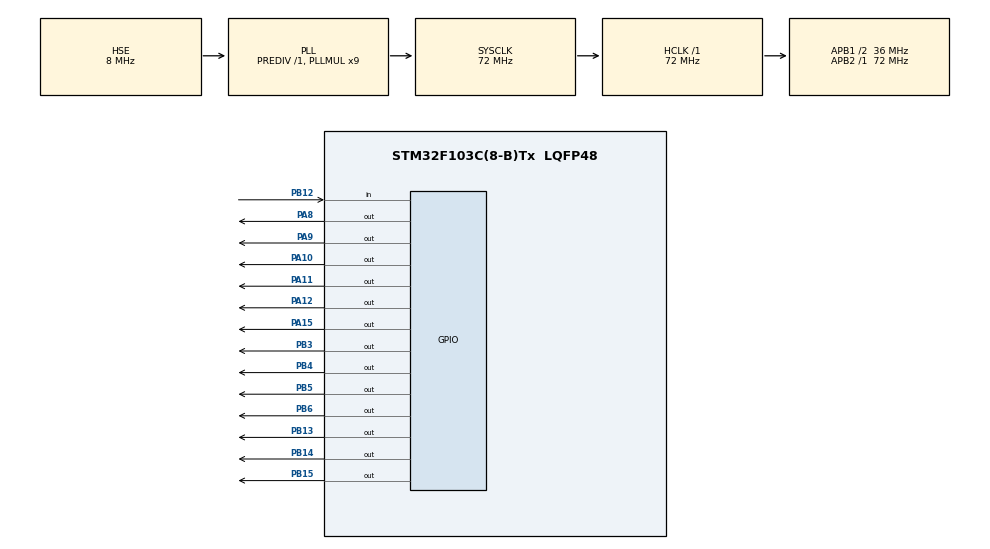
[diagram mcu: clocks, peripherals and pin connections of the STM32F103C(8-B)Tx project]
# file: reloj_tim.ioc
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Mcu.Family=STM32F1
Mcu.Name=STM32F103C(8-B)Tx
Mcu.Package=LQFP48
NVIC.PriorityGroup=NVIC_PRIORITYGROUP_4
PA10.Signal=GPIO_Output
PA11.Signal=GPIO_Output
PA12.Signal=GPIO_Output
PA13.Mode=Serial_Wire
PA13.Signal=SYS_JTMS-SWDIO
PA14.Mode=Serial_Wire
PA14.Signal=SYS_JTCK-SWCLK
PA15.Signal=GPIO_Output
PA8.Signal=GPIO_Output
PA9.Signal=GPIO_Output
PB12.Signal=GPIO_Input
PB13.Signal=GPIO_Output
PB14.Signal=GPIO_Output
PB15.Signal=GPIO_Output
PB3.Signal=GPIO_Output
PB4.Signal=GPIO_Output
PB5.Signal=GPIO_Output
PB6.Signal=GPIO_Output
PD0-OSC_IN.Mode=HSE-External-Oscillator
PD0-OSC_IN.Signal=RCC_OSC_IN
PD1-OSC_OUT.Mode=HSE-External-Oscillator
PD1-OSC_OUT.Signal=RCC_OSC_OUT
ProjectManager.HeapSize=0x200
ProjectManager.StackSize=0x400
ProjectManager.TargetToolchain=STM32CubeIDE
RCC.AHBFreq_Value=72000000
RCC.APB1CLKDivider=RCC_HCLK_DIV2
RCC.APB1Freq_Value=36000000
RCC.APB1TimFreq_Value=72000000
RCC.APB2Freq_Value=72000000
RCC.APB2TimFreq_Value=72000000
RCC.HCLKFreq_Value=72000000
RCC.PLLMUL=RCC_PLL_MUL9
RCC.PLLSourceVirtual=RCC_PLLSOURCE_HSE
RCC.SYSCLKFreq_VALUE=72000000
RCC.SYSCLKSource=RCC_SYSCLKSOURCE_PLLCLK
RCC.USBFreq_Value=72000000
TIM2.Period=1
TIM2.Prescaler=35999
VP_TIM2_VS_ClockSourceINT.Mode=Internal
board=custom

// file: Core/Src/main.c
/* USER CODE BEGIN Header */
/**
  ******************************************************************************
  * @file           : main.c
  * @brief          : Main program body
  ******************************************************************************
  * @attention
  *
  * <h2><center>&copy; Copyright (c) 2020 STMicroelectronics.
  * All rights reserved.</center></h2>
  *
  * This software component is licensed by ST under BSD 3-Clause license,
  * the "License"; You may not use this file except in compliance with the
  * License. You may obtain a copy of the License at:
  *                        opensource.org/licenses/BSD-3-Clause
  *
  ******************************************************************************
  */
/* USER CODE END Header */

#include "main.h"

/* USER CODE BEGIN PD */
enum{
	mils = 0,
	seg,
	min,
	hour
};
volatile uint32_t time[hour+1] ={0,0,10,7};

/* USER CODE END PD */

TIM_HandleTypeDef htim2;

void SystemClock_Config(void);
static void MX_GPIO_Init(void);
static void MX_TIM2_Init(void);

/* USER CODE BEGIN 0 */
void encender(int tiempo);
void apagar(int tiempo);
int inicial();
int  run();
int set();
/* USER CODE END 0 */

int main(void)
{

  /* MCU Configuration--------------------------------------------------------*/

  /* Reset of all peripherals, Initializes the Flash interface and the Systick. */
  HAL_Init();

  /* Configure the system clock */
  SystemClock_Config();

  /* Initialize all configured peripherals */
  MX_GPIO_Init();
  MX_TIM2_Init();

  /* Infinite loop */
  while (1)
  {

  }
}

void SystemClock_Config(void)
{
  RCC_OscInitTypeDef RCC_OscInitStruct = {0};
  RCC_ClkInitTypeDef RCC_ClkInitStruct = {0};

  /** Initializes the CPU, AHB and APB busses clocks
  */
  RCC_OscInitStruct.OscillatorType = RCC_OSCILLATORTYPE_HSE;
  RCC_OscInitStruct.HSEState = RCC_HSE_ON;
  RCC_OscInitStruct.HSEPredivValue = RCC_HSE_PREDIV_DIV1;
  RCC_OscInitStruct.HSIState = RCC_HSI_ON;
  RCC_OscInitStruct.PLL.PLLState = RCC_PLL_ON;
  RCC_OscInitStruct.PLL.PLLSource = RCC_PLLSOURCE_HSE;
  RCC_OscInitStruct.PLL.PLLMUL = RCC_PLL_MUL9;
  if (HAL_RCC_OscConfig(&RCC_OscInitStruct) != HAL_OK)
  {
    Error_Handler();
  }
  /** Initializes the CPU, AHB and APB busses clocks
  */
  RCC_ClkInitStruct.ClockType = RCC_CLOCKTYPE_HCLK|RCC_CLOCKTYPE_SYSCLK
                              |RCC_CLOCKTYPE_PCLK1|RCC_CLOCKTYPE_PCLK2;
  RCC_ClkInitStruct.SYSCLKSource = RCC_SYSCLKSOURCE_PLLCLK;
  RCC_ClkInitStruct.AHBCLKDivider = RCC_SYSCLK_DIV1;
  RCC_ClkInitStruct.APB1CLKDivider = RCC_HCLK_DIV2;
  RCC_ClkInitStruct.APB2CLKDivider = RCC_HCLK_DIV1;

  if (HAL_RCC_ClockConfig(&RCC_ClkInitStruct, FLASH_LATENCY_2) != HAL_OK)
  {
    Error_Handler();
  }
}

static void MX_TIM2_Init(void)
{

  TIM_ClockConfigTypeDef sClockSourceConfig = {0};
  TIM_MasterConfigTypeDef sMasterConfig = {0};

  htim2.Instance = TIM2;
  htim2.Init.Prescaler = 35999;
  htim2.Init.CounterMode = TIM_COUNTERMODE_UP;
  htim2.Init.Period = 1;
  htim2.Init.ClockDivision = TIM_CLOCKDIVISION_DIV1;
  htim2.Init.AutoReloadPreload = TIM_AUTORELOAD_PRELOAD_DISABLE;
  if (HAL_TIM_Base_Init(&htim2) != HAL_OK)
  {
    Error_Handler();
  }
  sClockSourceConfig.ClockSource = TIM_CLOCKSOURCE_INTERNAL;
  if (HAL_TIM_ConfigClockSource(&htim2, &sClockSourceConfig) != HAL_OK)
  {
    Error_Handler();
  }
  sMasterConfig.MasterOutputTrigger = TIM_TRGO_RESET;
  sMasterConfig.MasterSlaveMode = TIM_MASTERSLAVEMODE_DISABLE;
  if (HAL_TIMEx_MasterConfigSynchronization(&htim2, &sMasterConfig) != HAL_OK)
  {
    Error_Handler();
  }

}

static void MX_GPIO_Init(void)
{
  GPIO_InitTypeDef GPIO_InitStruct = {0};

  /* GPIO Ports Clock Enable */
  __HAL_RCC_GPIOD_CLK_ENABLE();
  __HAL_RCC_GPIOB_CLK_ENABLE();
  __HAL_RCC_GPIOA_CLK_ENABLE();

  /*Configure GPIO pin Output Level */
  HAL_GPIO_WritePin(GPIOB, GPIO_PIN_13|GPIO_PIN_14|GPIO_PIN_15|GPIO_PIN_3
                          |GPIO_PIN_4|GPIO_PIN_5|GPIO_PIN_6, GPIO_PIN_RESET);

  /*Configure GPIO pin Output Level */
  HAL_GPIO_WritePin(GPIOA, GPIO_PIN_8|GPIO_PIN_9|GPIO_PIN_10|GPIO_PIN_11
                          |GPIO_PIN_12|GPIO_PIN_15, GPIO_PIN_RESET);

  /*Configure GPIO pin : PB12 */
  GPIO_InitStruct.Pin = GPIO_PIN_12;
  GPIO_InitStruct.Mode = GPIO_MODE_INPUT;
  GPIO_InitStruct.Pull = GPIO_NOPULL;
  HAL_GPIO_Init(GPIOB, &GPIO_InitStruct);

  /*Configure GPIO pins : PB13 PB14 PB15 PB3
                           PB4 PB5 PB6 */
  GPIO_InitStruct.Pin = GPIO_PIN_13|GPIO_PIN_14|GPIO_PIN_15|GPIO_PIN_3
                          |GPIO_PIN_4|GPIO_PIN_5|GPIO_PIN_6;
  GPIO_InitStruct.Mode = GPIO_MODE_OUTPUT_PP;
  GPIO_InitStruct.Pull = GPIO_NOPULL;
  GPIO_InitStruct.Speed = GPIO_SPEED_FREQ_LOW;
  HAL_GPIO_Init(GPIOB, &GPIO_InitStruct);

  /*Configure GPIO pins : PA8 PA9 PA10 PA11
                           PA12 PA15 */
  GPIO_InitStruct.Pin = GPIO_PIN_8|GPIO_PIN_9|GPIO_PIN_10|GPIO_PIN_11
                          |GPIO_PIN_12|GPIO_PIN_15;
  GPIO_InitStruct.Mode = GPIO_MODE_OUTPUT_PP;
  GPIO_InitStruct.Pull = GPIO_NOPULL;
  GPIO_InitStruct.Speed = GPIO_SPEED_FREQ_LOW;
  HAL_GPIO_Init(GPIOA, &GPIO_InitStruct);

}

/* USER CODE BEGIN 4 */
volatile int state = 1;
//interrupcion del tiempo
void HAL_TIM_PeriodElapsedCallback(TIM_HandleTypeDef *htim){
	if(htim->Instance == TIM2 ){
		if(time[mils]++==1000){
			time[mils]=0;
			time[seg]++;
			switch (state) {
					case 1:
						state = inicial();
						break;
					case 2:
						state = run();
						break;
					case 3:
						state = set();
						break;
					default:
						break;
			  }
			if(time[seg]==60){
				time[seg] = 0;
				time[min]++;
				if(time[min]== 60){
					time[hour]++;
					if(time[hour]== 12){
						time[hour]=0;
					}
				}
			}
		}
	}

}

//encender
void encender(int tiempo){
	switch (tiempo) {//switch para cambiar estado de los leds
		case 0:
			HAL_GPIO_WritePin(GPIOA, GPIO_PIN_9, GPIO_PIN_SET);
			break;
		case 1:
			HAL_GPIO_WritePin(GPIOA, GPIO_PIN_10, GPIO_PIN_SET);
			break;
		case 2:
			HAL_GPIO_WritePin(GPIOA, GPIO_PIN_11, GPIO_PIN_SET);
			break;
		case 3:
			HAL_GPIO_WritePin(GPIOA, GPIO_PIN_12, GPIO_PIN_SET);
			break;
		case 4:
			HAL_GPIO_WritePin(GPIOA, GPIO_PIN_15, GPIO_PIN_SET);
			break;
		case 5:
			HAL_GPIO_WritePin(GPIOB, GPIO_PIN_3, GPIO_PIN_SET);
			break;
		case 6:
			HAL_GPIO_WritePin(GPIOB, GPIO_PIN_4, GPIO_PIN_SET);
			break;
		case 7:
			HAL_GPIO_WritePin(GPIOB, GPIO_PIN_5, GPIO_PIN_SET);
			break;
		case 8:
			HAL_GPIO_WritePin(GPIOB, GPIO_PIN_13, GPIO_PIN_SET);
			break;
		case 9:
			HAL_GPIO_WritePin(GPIOB, GPIO_PIN_14, GPIO_PIN_SET);
			break;
		case 10:
			HAL_GPIO_WritePin(GPIOB, GPIO_PIN_15, GPIO_PIN_SET);
			break;
		case 11:
			HAL_GPIO_WritePin(GPIOA, GPIO_PIN_8, GPIO_PIN_SET);
			break;
		default:
			break;
	}
}
//apagar
void apagar(int tiempo){
	switch (tiempo) {//switch para cambiar estado de los leds
		case 0:
			HAL_GPIO_WritePin(GPIOA, GPIO_PIN_9, GPIO_PIN_RESET);
			break;
		case 1:
			HAL_GPIO_WritePin(GPIOA, GPIO_PIN_10, GPIO_PIN_RESET);
			break;
		case 2:
			HAL_GPIO_WritePin(GPIOA, GPIO_PIN_11, GPIO_PIN_RESET);
			break;
		case 3:
			HAL_GPIO_WritePin(GPIOA, GPIO_PIN_12, GPIO_PIN_RESET);
			break;
		case 4:
			HAL_GPIO_WritePin(GPIOA, GPIO_PIN_15, GPIO_PIN_RESET);
			break;
		case 5:
			HAL_GPIO_WritePin(GPIOB, GPIO_PIN_3, GPIO_PIN_RESET);
			break;
		case 6:
			HAL_GPIO_WritePin(GPIOB, GPIO_PIN_4, GPIO_PIN_RESET);
			break;
		case 7:
			HAL_GPIO_WritePin(GPIOB, GPIO_PIN_5, GPIO_PIN_RESET);
			break;
		case 8:
			HAL_GPIO_WritePin(GPIOB, GPIO_PIN_13, GPIO_PIN_RESET);
			break;
		case 9:
			HAL_GPIO_WritePin(GPIOB, GPIO_PIN_14, GPIO_PIN_RESET);
			break;
		case 10:
			HAL_GPIO_WritePin(GPIOB, GPIO_PIN_15, GPIO_PIN_RESET);
			break;
		case 11:
			HAL_GPIO_WritePin(GPIOA, GPIO_PIN_8, GPIO_PIN_RESET);
			break;
		default:
			break;
	}
}
//mod run
int run(){//estado run
	int estado = 2;//se define el estado actual
	encender(time[hour]);//se enciende led de las horas
	for (int i = 0; i < 5; ++i) {//ciclo de parpadeo minutos
		encender(time[min] / 5);//encendido
		HAL_Delay(300);//espera
		apagar(time[min] / 5);//apagado
		HAL_Delay(300);//espera
	}
	apagar(time[hour]);//apagar hora
	estado = 1;//estado principal
	return estado;//retorno
}
//mod set
int set(){
	int estado = 3;//estado
	int button;//pulso
	int time1 = 0;//tiempo en seg
	int time2 = 0;
	HAL_GPIO_WritePin(GPIOB, GPIO_PIN_6, GPIO_PIN_SET);//pitido on
	HAL_Delay(300);//espera 300 ms
	HAL_GPIO_WritePin(GPIOB, GPIO_PIN_6, GPIO_PIN_RESET);//pitido off
	HAL_Delay(300);//esperar 300 ms
	HAL_GPIO_WritePin(GPIOB, GPIO_PIN_6, GPIO_PIN_SET);//pitido on
	HAL_Delay(300);//esperar 300ms
	HAL_GPIO_WritePin(GPIOB, GPIO_PIN_6, GPIO_PIN_RESET);//pitido off
	encender(time[hour]);//encender las horas
	do{
			button = HAL_GPIO_ReadPin(GPIOB, GPIO_PIN_12);//leer boton
			while (button == GPIO_PIN_SET){//mientras este presionado
				button = HAL_GPIO_ReadPin(GPIOB, GPIO_PIN_12);//seguir leyendo boton
				time1 = time1 + 1;//sumar al tiempo
				HAL_Delay(1000);//esperar un segundo
			}
			if(time1 >= 5){//si el pulso es mayo a 5 seg
				apagar(time[hour]);// apagar horas
				encender(time[min] / 5); // encender min
				button = HAL_GPIO_ReadPin(GPIOB, GPIO_PIN_12);//leer boton
				while (button == GPIO_PIN_SET){//mientras este presionado
					button = HAL_GPIO_ReadPin(GPIOB, GPIO_PIN_12);//seguir leyendo boton
					time2 = time2 + 1;//sumer tiempo
				}
				if(time2 > 0 && time2 < 5){//si el pulso es menor a 5
					apagar(time[min] / 5);//apagar min
					if(time[min] == 60){
						time[min] = 0;
					}else if(time[min] < 60){
						time[min] = time[min] + 5;//sumar 5 min
					}
					encender(time[min] / 5);//encender min
					HAL_Delay(2000);
					apagar(time[min] / 5);//apagar min
					time2 = 0;
				}else if (time2 >= 5){//si el pulso es mayor a 5
					HAL_GPIO_WritePin(GPIOB, GPIO_PIN_6, GPIO_PIN_SET);//pitido on
					HAL_Delay(2000);//esperar 2 seg
					HAL_GPIO_WritePin(GPIOB, GPIO_PIN_6, GPIO_PIN_RESET);//pitido off
					estado = 1;//estado en principal
					apagar(time[hour]/5);//apagar horas
				}
			}else if(time1 > 0 && time1 < 5){//si el pulso es menor a 5
				apagar(time[hour]);//apagar horas
				if (time[hour]== 11){
					time[hour] = 0;//se reinicia la hora
				}else if(time[hour]<11){
					time[hour] = time[hour] + 1;//sumar 1 hora
				}
				encender(time[hour]);//encender horas
				time1 = 0;
			}
	}while(estado == 3);
	return estado;
}
//mod inicial
int inicial(){
	int estado = 1;
	int button;
	int time = 0;
	button = HAL_GPIO_ReadPin(GPIOB, GPIO_PIN_12);
	while (button == GPIO_PIN_SET){//mientras este presionado
		button = HAL_GPIO_ReadPin(GPIOB, GPIO_PIN_12);//leer botton
		time = time +1 ;//tiempo para reconocer estado
	}
	if(time >= 5){//para ir a set (5 seg)
		estado = 3;//estado set
	}else if (time > 0 && time < 5){
		estado = 2;//estado run
	}
	return estado;
}

/* USER CODE END 4 */

void Error_Handler(void)
{
}

/************************ (C) COPYRIGHT STMicroelectronics *****END OF FILE****/
